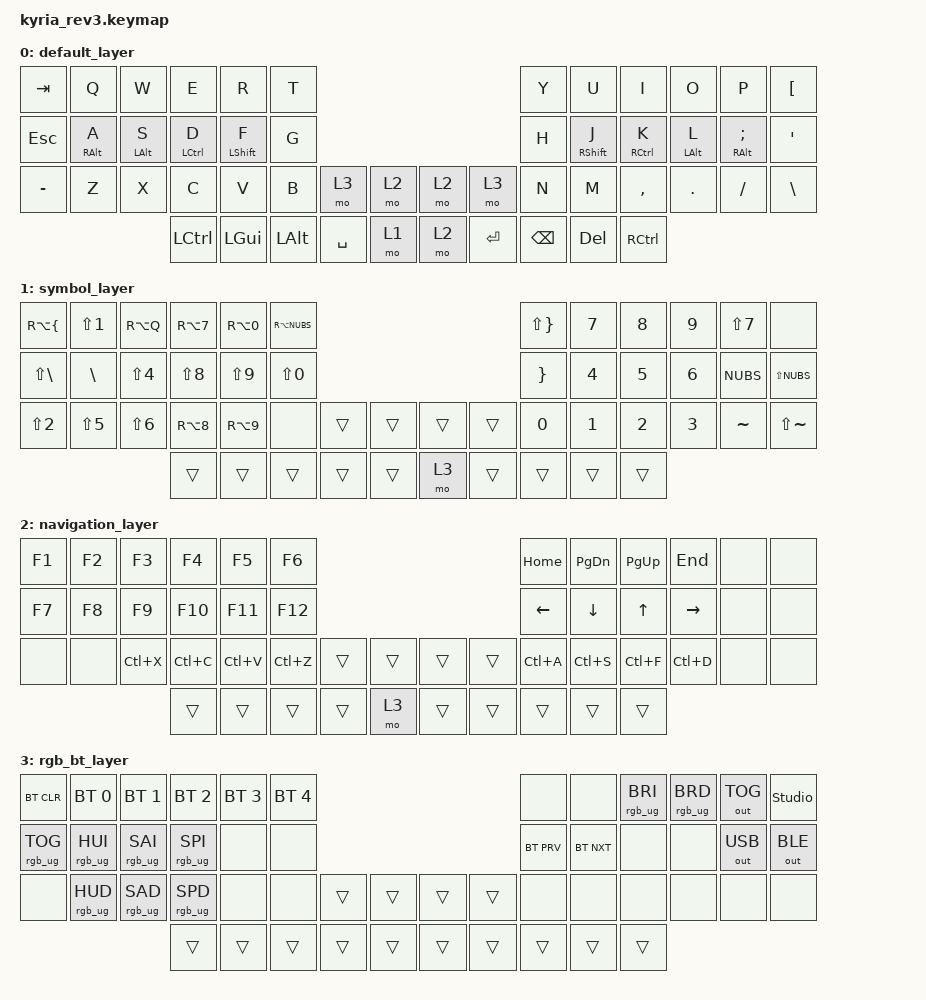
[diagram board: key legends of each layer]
/* Copyright (c) 2023 The ZMK Contributors
 *
 * SPDX-License-Identifier: MIT
 */

// Device tree includes for keyboard behaviors and bindings
#include <behaviors.dtsi>
#include <dt-bindings/zmk/bt.h>
#include <dt-bindings/zmk/keys.h>
#include <dt-bindings/zmk/outputs.h>
#include <dt-bindings/zmk/rgb.h>
#include <dt-bindings/zmk/ext_power.h>

// German (QWERTZ) Layout Key Definitions
// Maps physical keys to correct HID keycodes for German keyboard layout
#define DE_Q    Q           // Q stays Q
#define DE_W    W           // W stays W
#define DE_E    E           // E stays E
#define DE_R    R           // R stays R
#define DE_T    T           // T stays T
#define DE_Z    Y           // Z is on Y position (QWERTZ swap)
#define DE_U    U           // U stays U
#define DE_I    I           // I stays I
#define DE_O    O           // O stays O
#define DE_P    P           // P stays P
#define DE_UE   LBKT        // Ü key position (where [ is)
#define DE_A    A           // A stays A
#define DE_S    S           // S stays S
#define DE_D    D           // D stays D
#define DE_F    F           // F stays F
#define DE_G    G           // G stays G
#define DE_H    H           // H stays H
#define DE_J    J           // J stays J
#define DE_K    K           // K stays K
#define DE_L    L           // L stays L
#define DE_OE   SEMI        // Ö key position (where ; is)
#define DE_AE   SQT         // Ä key position (where ' is)
#define DE_Y    Z           // Y is on Z position (QWERTZ swap)
#define DE_X    X           // X stays X
#define DE_C    C           // C stays C
#define DE_V    V           // V stays V
#define DE_B    B           // B stays B
#define DE_N    N           // N stays N
#define DE_M    M           // M stays M
#define DE_COMM COMMA       // , stays ,
#define DE_DOT  DOT         // . stays .
#define DE_MINS SLASH       // - (hyphen)
#define DE_SS   MINUS       // ß (sharp s)
#define DE_PLUS RBKT        // + key
#define DE_HASH BSLH        // # key

// LED strip configuration
&led_strip {
    chain-length = <31>; // Total LEDs: per-key + underglow
};

/ {
    behaviors {
        hm_l: homerow_mods_left {
            compatible = "zmk,behavior-hold-tap";
            label = "HOMEROW_MODS_LEFT";
            #binding-cells = <2>;
            flavor = "balanced";
            tapping-term-ms = <200>;
            quick-tap-ms = <175>;
            require-prior-idle-ms = <70>;
            bindings = <&kp>, <&kp>;
        };
        hm_r: homerow_mods_right {
            compatible = "zmk,behavior-hold-tap";
            label = "HOMEROW_MODS_RIGHT";
            #binding-cells = <2>;
            flavor = "balanced";
            tapping-term-ms = <200>;
            quick-tap-ms = <175>;
            require-prior-idle-ms = <70>;
            bindings = <&kp>, <&kp>;
        };
    };

    keymap {
        compatible = "zmk,keymap";

        default_layer {
            // Primary QWERTZ layer - German layout
            // Homerow Mods: GUI - ALT - CTRL - SHIFT (Gacs/Scag pattern)
            // ---------------------------------------------------------------------------------------------------------------------------------
            // |  TAB  |  Q  |  W  |  E   |  R   |  T   |                                          |  Z   |  U    |  I    |  O   |   P   |  Ü   |
            // |  TAB  |A/GUI|S/ALT|D/CTRL|F/SHFT|  G   |                                          |  H   |J/SHFT |K/CTRL |L/ALT |Ö/GUI  |  Ä   |
            // |  ß    |  Y  |  X  |  C   |  V   |  B   | LAYER 3 | LAYER 2 |  | LAYER 2 | LAYER 3 |  N   |  M    |  ,    |  .   |   -   |  #   |
            //                     | CTRL | GUI  | ALT  |  SPACE  | LAYER 1 |  | LAYER 2 |  ENTER  | BSPC |  DEL  | CTRL |
            bindings = <
            &kp TAB   &kp Q         &kp W         &kp E         &kp R         &kp T                                       &kp DE_Z  &kp U         &kp I         &kp O         &kp P             &kp DE_UE
            &kp ESC   &hm_l RALT A  &hm_l LALT S  &hm_l LCTRL D &hm_l LSHFT F &kp G                                       &kp H     &hm_r RSHFT J &hm_r RCTRL K &hm_r LALT L  &hm_r RALT DE_OE  &kp DE_AE
            &kp DE_SS &kp DE_Y      &kp X         &kp C         &kp V         &kp B     &mo 3      &mo 2    &mo 2 &mo 3   &kp N     &kp M         &kp COMMA     &kp DOT       &kp DE_MINS       &kp DE_HASH
                                                  &kp LCTRL     &kp LGUI      &kp LALT  &kp SPACE  &mo 1    &mo 2 &kp RET &kp BSPC  &kp DEL       &kp RCTRL
            >;
        };
//TODO: Add Tapdance on left side for Copy Paste
        symbol_layer {
            // Symbols and numbers - Numpad-Layout rechts, Symbole links
            // Deutsche Sonderzeichen optimiert
            // ---------------------------------------------------------------------------------------------------------------------------------
            // |   ~   |  !  |  @  |  {   |  }   |  |   |                                          |  *   |  7    |  8    |  9   |   /   |      |
            // |   '   |  #  |  $  |  (   |  )   |  =   |                                          |  +   |  4    |  5    |  6   |   <   |  >   |
            // |   "   |  %  |  &  |  [   |  ]   |      |         |         |  |         |         |  0   |  1    |  2    |  3   |   ^   |   °  |
            //                     |      |      |      |         |         |  | Layer 3 |         |      |       |       |
            bindings = <
            &kp RA(LBRC)  &kp LS(N1)  &kp RA(Q)   &kp RA(N7)  &kp RA(N0)  &kp RA(NUBS)                                    &kp LS(RBRC)  &kp N7  &kp N8  &kp N9  &kp LS(N7)  &none
            &kp LS(BSLH)  &kp BSLH    &kp LS(N4)  &kp LS(N8)  &kp LS(N9)  &kp LS(N0)                                      &kp RBRC      &kp N4  &kp N5  &kp N6  &kp NUBS    &kp LS(NUBS)
            &kp LS(N2)    &kp LS(N5)  &kp LS(N6)  &kp RA(N8)  &kp RA(N9)  &none         &trans  &trans    &trans  &trans  &kp N0        &kp N1  &kp N2  &kp N3  &kp TILDE   &kp LS(TILDE)
                                                  &trans      &trans      &trans        &trans  &trans    &mo 3   &trans  &trans        &trans  &trans
            >;
        };

        navigation_layer {
            // Navigation und Function Keys
            // Vim-artige Navigation auf rechter Homerow
            // ---------------------------------------------------------------------------------------------------------------------------------
            // |  F1   | F2  | F3  |  F4  |  F5  |  F6  |                                          | HOME | PG_DN | PG_UP | END  |       |      |
            // |  F7   | F8  | F9  | F10  | F11  | F12  |                                          | LEFT | DOWN  |  UP   | RIGHT|       |      |
            // |       |     | Cut |Copy  |Paste | Undo |         |         |  |         |         | C+A  | C+S   | C+F   | C+D  |       |      |
            //                     |      |      |      |         | Layer 3 |  |         |         |      |       |       |
            bindings = <
            &kp F1  &kp F2  &kp F3    &kp F4    &kp F5    &kp F6                                  &kp HOME  &kp PG_DN &kp PG_UP &kp END   &none &none
            &kp F7  &kp F8  &kp F9    &kp F10   &kp F11   &kp F12                                 &kp LEFT  &kp DOWN  &kp UP    &kp RIGHT &none &none
            &none   &none   &kp LC(X) &kp LC(C) &kp LC(V) &kp LC(Z) &trans &trans   &trans &trans &kp LC(A) &kp LC(S) &kp LC(F) &kp LC(D) &none &none
                                      &trans    &trans    &trans    &trans &mo 3    &trans &trans &trans    &trans    &trans
            >;
        };

        rgb_bt_layer {
            // RGB lighting and Bluetooth control
            // Vereinfachtes Layout, keine Duplikate
            // ---------------------------------------------------------------------------------------------------------------------------------
            // |BT_CLR |BT_0   |BT_1   |BT_2   |BT_3   |BT_4   |                                        |       |       |RGB_BRI|RGB_BRD|OUT_TOG|ST_UNLOCK|
            // |RGB_TOG|RGB_HUI|RGB_SAI|RGB_SPI|       |       |                                        |BT_PRV |BT_NXT |       |       |OUT_USB|OUT_BLE  |
            // |       |RGB_HUD|RGB_SAD|RGB_SPD|       |       |         |         |  |         |       |       |       |       |       |       |         |
            //                         |       |       |       |         |         |  |         |       |       |       |       |
            bindings = <
            &bt BT_CLR      &bt BT_SEL 0    &bt BT_SEL 1    &bt BT_SEL 2     &bt BT_SEL 3 &bt BT_SEL 4                                &none       &none       &rgb_ug RGB_BRI &rgb_ug RGB_BRD &out OUT_TOG  &studio_unlock
            &rgb_ug RGB_TOG &rgb_ug RGB_HUI &rgb_ug RGB_SAI &rgb_ug RGB_SPI  &none        &none                                       &bt BT_PRV  &bt BT_NXT  &none           &none           &out OUT_USB  &out OUT_BLE
            &none           &rgb_ug RGB_HUD &rgb_ug RGB_SAD &rgb_ug RGB_SPD  &none        &none         &trans &trans   &trans &trans &none       &none       &none           &none           &none         &none
                                                            &trans           &trans       &trans        &trans &trans   &trans &trans &trans      &trans      &trans
            >;
        };
    };
};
